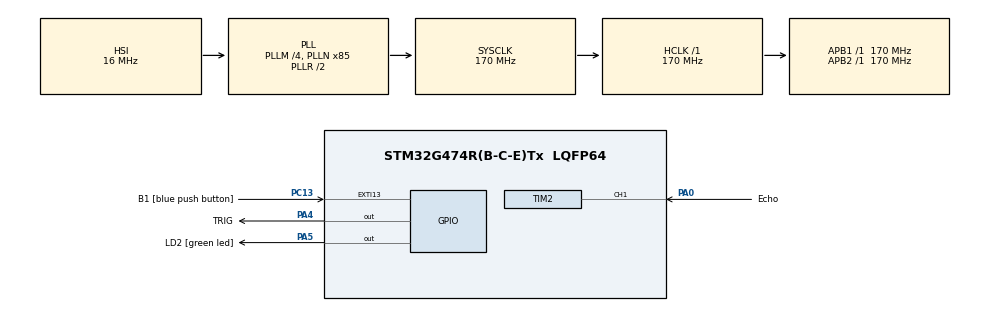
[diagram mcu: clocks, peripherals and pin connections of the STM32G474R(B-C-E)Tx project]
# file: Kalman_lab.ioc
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Mcu.Family=STM32G4
Mcu.Name=STM32G474R(B-C-E)Tx
Mcu.Package=LQFP64
NVIC.EXTI15_10_IRQn=true\:0\:0\:false\:false\:true\:true\:true\:true
NVIC.PriorityGroup=NVIC_PRIORITYGROUP_4
PA0.GPIO_Label=Echo
PA0.Signal=S_TIM2_CH1
PA13.GPIO_Label=T_SWDIO
PA13.Signal=SYS_JTMS-SWDIO
PA14.GPIO_Label=T_SWCLK
PA14.Signal=SYS_JTCK-SWCLK
PA2.GPIO_Label=LPUART1_TX [STLINKV3E_VCP_RX]
PA2.Signal=LPUART1_TX
PA3.GPIO_Label=LPUART1_RX [STLINKV3E_VCP_TX]
PA3.Signal=LPUART1_RX
PA4.GPIO_Label=TRIG
PA4.Signal=GPIO_Output
PA5.GPIO_Label=LD2 [green led]
PA5.Signal=GPIO_Output
PB3.GPIO_Label=T_SWO
PB3.Signal=SYS_JTDO-SWO
PC13.GPIO_Label=B1 [blue push button]
PC13.Signal=GPXTI13
PC14-OSC32_IN.GPIO_Label=RCC_OSC32_IN
PC14-OSC32_IN.Signal=RCC_OSC32_IN
PC15-OSC32_OUT.GPIO_Label=RCC_OSC32_OUT
PC15-OSC32_OUT.Signal=RCC_OSC32_OUT
PF0-OSC_IN.GPIO_Label=RCC_OSC_IN
PF0-OSC_IN.Signal=RCC_OSC_IN
PF1-OSC_OUT.GPIO_Label=RCC_OSC_OUT
PF1-OSC_OUT.Signal=RCC_OSC_OUT
ProjectManager.HeapSize=0x200
ProjectManager.StackSize=0x400
ProjectManager.TargetToolchain=STM32CubeIDE
RCC.ADC12Freq_Value=170000000
RCC.ADC345Freq_Value=170000000
RCC.AHBFreq_Value=170000000
RCC.APB1Freq_Value=170000000
RCC.APB1TimFreq_Value=170000000
RCC.APB2Freq_Value=170000000
RCC.APB2TimFreq_Value=170000000
RCC.CortexFreq_Value=170000000
RCC.EXTERNAL_CLOCK_VALUE=12288000
RCC.HCLKFreq_Value=170000000
RCC.HSE_VALUE=24000000
RCC.HSI48_VALUE=48000000
RCC.HSI_VALUE=16000000
RCC.LSE_VALUE=32768
RCC.PLLM=RCC_PLLM_DIV4
RCC.PLLN=85
RCC.RTCClockSelection=RCC_RTCCLKSOURCE_LSE
RCC.SYSCLKFreq_VALUE=170000000
RCC.SYSCLKSource=RCC_SYSCLKSOURCE_PLLCLK
RCC.USBFreq_Value=170000000
RCC.VCOOutputFreq_Value=340000000
SH.S_TIM2_CH1.0=TIM2_CH1,Input_Capture1_from_TI1
TIM2.Channel-Input_Capture1_from_TI1=TIM_CHANNEL_1
TIM2.Prescaler=169
VP_SYS_VS_DBSignals.Mode=DisableDeadBatterySignals
VP_TIM2_VS_ClockSourceINT.Mode=Internal
board=NUCLEO-G474RE

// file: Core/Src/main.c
/* USER CODE BEGIN Header */
/**
  ******************************************************************************
  * @file           : main.c
  * @brief          : Main program body
  ******************************************************************************
  * @attention
  *
  * Copyright (c) 2026 STMicroelectronics.
  * All rights reserved.
  *
  * This software is licensed under terms that can be found in the LICENSE file
  * in the root directory of this software component.
  * If no LICENSE file comes with this software, it is provided AS-IS.
  *
  ******************************************************************************
  */
/* USER CODE END Header */
#include "main.h"
#include "tim.h"
#include "gpio.h"

/* USER CODE BEGIN Includes */
#include "kalman.h"
#include <stdio.h>
#include <string.h>
#include <math.h>
/* USER CODE END Includes */

/* USER CODE BEGIN PV */
KalmanFilter kf;

/* Simulated true system state (Mass-Spring-Damper) */
float sim_time  = 0.0f;
const float Ts  = 0.01f;          /* 10 ms sample time */

float mass = 0.34 - 0.038f;
float spring = 27.75f;
float damping = 0.082f;
volatile float y_meas = 0.0f;
volatile float kf_pos = 0.0f;
volatile float kf_vel = 0.0f;

/* USER CODE END PV */

void SystemClock_Config(void);
/* USER CODE BEGIN PFP */

float Read_Ultrasonic_Distance(void);

/* USER CODE END PFP */

int main(void)
{

  /* MCU Configuration--------------------------------------------------------*/

  /* Reset of all peripherals, Initializes the Flash interface and the Systick. */
  HAL_Init();

  /* Configure the system clock */
  SystemClock_Config();

  /* Initialize all configured peripherals */
  MX_GPIO_Init();
  MX_TIM2_Init();
  /* USER CODE BEGIN 2 */

  	HAL_TIM_IC_Start(&htim2, TIM_CHANNEL_1);

  	Kalman_Update_Physical_Params(&kf, mass, spring, damping, Ts);
  	Kalman_Init(&kf);
  /* USER CODE END 2 */

  /* Infinite loop */
  while (1)
  {

    /* USER CODE BEGIN 3 */

	  float current_reading = Read_Ultrasonic_Distance();

	        if (current_reading != -1.0f) {
	            y_meas = current_reading;
	        } else {
	            continue;
	        }

	        /* 1. แปลงหน่วยเป็นเมตร ก่อนเข้าโมเดลฟิสิกส์ */
	        float y_meas_m = y_meas / 100.0f;

	        /* 2. ไฮไลท์สำคัญ: ย้ายจุดยึดสปริง (Moving Anchor) */
	        // สร้างแรงจำลอง F ให้เท่ากับ แรงสปริง x ตำแหน่งเป้าหมาย
	        float F = spring * y_meas_m;

	        /* 3. ป้อนค่าเข้า Kalman Filter */
	        float pos_m = Kalman_Update(&kf, y_meas_m, F);

	        /* 4. แปลงกลับเป็นหน่วย cm เพื่อให้กราฟสเกลเดียวกัน */
	        kf_pos = pos_m * 100.0f;
	        kf_vel = kf.x_hat[1] * 100.0f;

	        HAL_Delay(10);
  }
  /* USER CODE END 3 */
}

void SystemClock_Config(void)
{
  RCC_OscInitTypeDef RCC_OscInitStruct = {0};
  RCC_ClkInitTypeDef RCC_ClkInitStruct = {0};

  /** Configure the main internal regulator output voltage
  */
  HAL_PWREx_ControlVoltageScaling(PWR_REGULATOR_VOLTAGE_SCALE1_BOOST);

  /** Initializes the RCC Oscillators according to the specified parameters
  * in the RCC_OscInitTypeDef structure.
  */
  RCC_OscInitStruct.OscillatorType = RCC_OSCILLATORTYPE_HSI;
  RCC_OscInitStruct.HSIState = RCC_HSI_ON;
  RCC_OscInitStruct.HSICalibrationValue = RCC_HSICALIBRATION_DEFAULT;
  RCC_OscInitStruct.PLL.PLLState = RCC_PLL_ON;
  RCC_OscInitStruct.PLL.PLLSource = RCC_PLLSOURCE_HSI;
  RCC_OscInitStruct.PLL.PLLM = RCC_PLLM_DIV4;
  RCC_OscInitStruct.PLL.PLLN = 85;
  RCC_OscInitStruct.PLL.PLLP = RCC_PLLP_DIV2;
  RCC_OscInitStruct.PLL.PLLQ = RCC_PLLQ_DIV2;
  RCC_OscInitStruct.PLL.PLLR = RCC_PLLR_DIV2;
  if (HAL_RCC_OscConfig(&RCC_OscInitStruct) != HAL_OK)
  {
    Error_Handler();
  }

  /** Initializes the CPU, AHB and APB buses clocks
  */
  RCC_ClkInitStruct.ClockType = RCC_CLOCKTYPE_HCLK|RCC_CLOCKTYPE_SYSCLK
                              |RCC_CLOCKTYPE_PCLK1|RCC_CLOCKTYPE_PCLK2;
  RCC_ClkInitStruct.SYSCLKSource = RCC_SYSCLKSOURCE_PLLCLK;
  RCC_ClkInitStruct.AHBCLKDivider = RCC_SYSCLK_DIV1;
  RCC_ClkInitStruct.APB1CLKDivider = RCC_HCLK_DIV1;
  RCC_ClkInitStruct.APB2CLKDivider = RCC_HCLK_DIV1;

  if (HAL_RCC_ClockConfig(&RCC_ClkInitStruct, FLASH_LATENCY_4) != HAL_OK)
  {
    Error_Handler();
  }
}

/* USER CODE BEGIN 4 */
float Read_Ultrasonic_Distance(void) {
    uint32_t t1 = 0, t2 = 0;
    HAL_GPIO_WritePin(TRIG_GPIO_Port, TRIG_Pin, GPIO_PIN_SET);
    __HAL_TIM_SET_COUNTER(&htim2, 0);
    while (__HAL_TIM_GET_COUNTER(&htim2) < 10);
    HAL_GPIO_WritePin(TRIG_GPIO_Port, TRIG_Pin, GPIO_PIN_RESET);

    __HAL_TIM_SET_COUNTER(&htim2, 0);
    while (HAL_GPIO_ReadPin(GPIOA, GPIO_PIN_0) == GPIO_PIN_RESET) {
        if(__HAL_TIM_GET_COUNTER(&htim2) > 100000) return -1.0;
    }
    t1 = __HAL_TIM_GET_COUNTER(&htim2);
    while (HAL_GPIO_ReadPin(GPIOA, GPIO_PIN_0) == GPIO_PIN_SET) {
        if(__HAL_TIM_GET_COUNTER(&htim2) > 100000) return -1.0;
    }
    t2 = __HAL_TIM_GET_COUNTER(&htim2);
    float distance = (t2 - t1) * 0.0343 / 2.0;
    if (distance > 45.0) distance = 45.0; // ระยะ max ในหน่วย ซม.

    return distance;
}

int _write(int file, char *ptr, int len)
{
    for (int i = 0; i < len; i++)
    {
        ITM_SendChar((*ptr++));
    }
    return len;
}
/* USER CODE END 4 */

void Error_Handler(void)
{
  __disable_irq();
  while (1)
  {
  }
}
